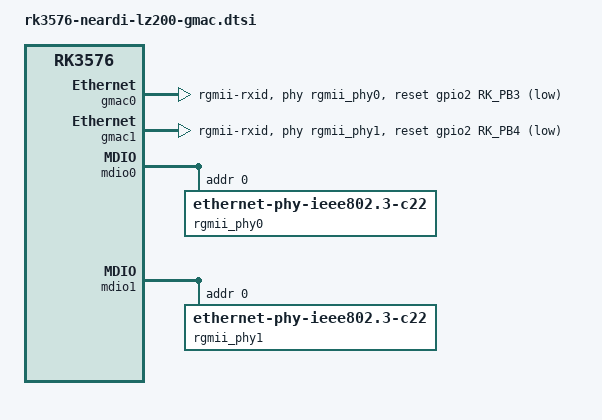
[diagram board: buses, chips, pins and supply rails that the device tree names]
&gmac0 {
	/* Use rgmii-rxid mode to disable rx delay inside Soc */
	phy-mode = "rgmii-rxid";
	clock_in_out = "output";

	snps,reset-gpio = <&gpio2 RK_PB3 GPIO_ACTIVE_LOW>;
	snps,reset-active-low;
	/* Reset time is 20ms, 100ms for rtl8211f */
	snps,reset-delays-us = <0 20000 100000>;

	pinctrl-names = "default";
	pinctrl-0 = <&eth0m0_miim
		     &eth0m0_tx_bus2
		     &eth0m0_rx_bus2
		     &eth0m0_rgmii_clk
		     &eth0m0_rgmii_bus
		     &ethm0_clk0_25m_out>;

	tx_delay = <0x21>;
	/* rx_delay = <0x3f>; */

	phy-handle = <&rgmii_phy0>;
	status = "okay";
};

&gmac1 {
	/* Use rgmii-rxid mode to disable rx delay inside Soc */
	phy-mode = "rgmii-rxid";
	clock_in_out = "output";

	snps,reset-gpio = <&gpio2 RK_PB4 GPIO_ACTIVE_LOW>;
	snps,reset-active-low;
	/* Reset time is 20ms, 100ms for rtl8211f */
	snps,reset-delays-us = <0 20000 100000>;

	pinctrl-names = "default";
	pinctrl-0 = <&eth1m0_miim
		     &eth1m0_tx_bus2
		     &eth1m0_rx_bus2
		     &eth1m0_rgmii_clk
		     &eth1m0_rgmii_bus
		     &ethm0_clk1_25m_out>;

	tx_delay = <0x20>;
	/* rx_delay = <0x3f>; */

	phy-handle = <&rgmii_phy1>;
	status = "okay";
};

&mdio0 {
	rgmii_phy0: phy@1 {
		compatible = "ethernet-phy-ieee802.3-c22";
		/* neardi：warning yt8521 need boardcast address 0x0 */
		reg = <0x0>;
		clocks = <&cru REFCLKO25M_GMAC0_OUT>;
	};
};

&mdio1 {
	rgmii_phy1: phy@1 {
		compatible = "ethernet-phy-ieee802.3-c22";
		/* neardi：warning yt8521 need boardcast address 0x0 */
		reg = <0x0>;
		clocks = <&cru REFCLKO25M_GMAC1_OUT>;
	};
};

&pinctrl {


};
